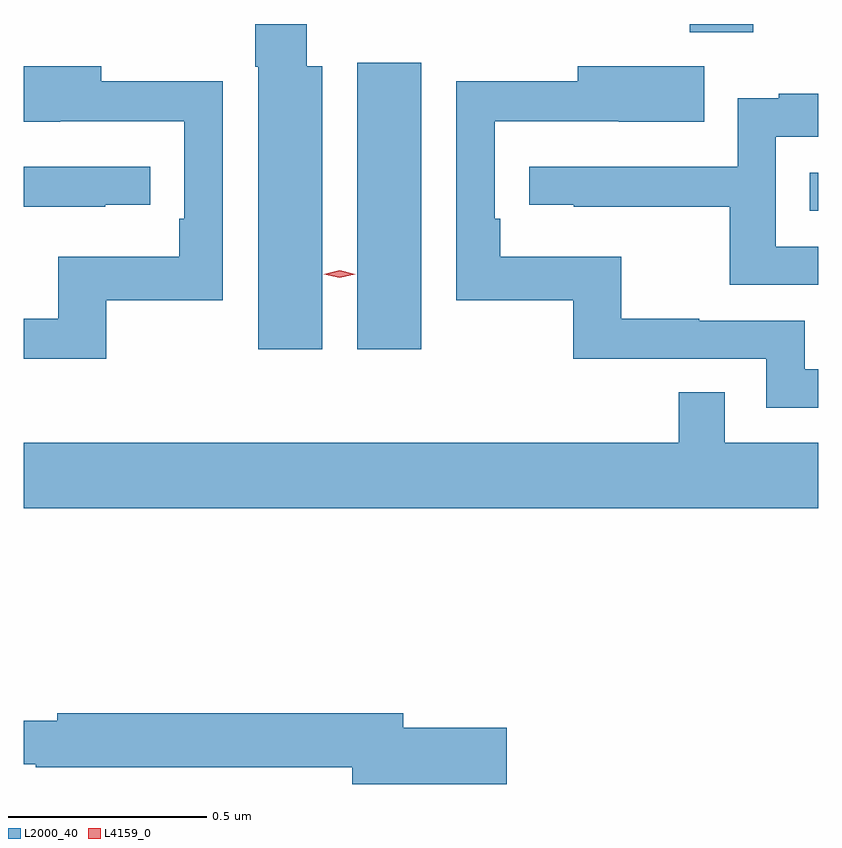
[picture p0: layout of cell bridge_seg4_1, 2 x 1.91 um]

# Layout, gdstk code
import gdstk
lib = gdstk.Library(unit=1e-6, precision=1e-09)
def R(c, l, rs):  # rectangles x0, y0, x1, y1
    for r in rs: c.add(gdstk.rectangle(r[:2], r[2:], *l))
def P(c, l, *ps):  # polygons
    for p in ps: c.add(gdstk.Polygon(p, *l))
L2000_40 = (2000, 40)
L4159_0 = (4159, 0)

bridge_seg4_1 = lib.new_cell('bridge_seg4_1')
R(bridge_seg4_1, L2000_40, [(1041.146,770.58,1041.307,771.301), (1042.285,770.928,1042.307,771.024), (1041.983,771.377,1042.143,771.398)])
P(bridge_seg4_1, L2000_40, [(1041.058,771.292),(1041.019,771.292),(1041.019,771.398),(1040.89,771.398),(1040.89,771.29),(1040.897,771.29),(1040.897,770.58),(1041.058,770.58)],
  [(1040.515,770.703),(1040.808,770.703),(1040.808,771.254),(1040.503,771.254),(1040.503,771.292),(1040.307,771.292),(1040.307,771.152),(1040.399,771.152),(1040.399,771.153),(1040.712,771.153),(1040.712,770.908),(1040.699,770.908),(1040.699,770.812),(1040.394,770.812),(1040.394,770.657),(1040.307,770.657),(1040.307,770.556),(1040.515,770.556)],
  [(1042.307,770.529),(1042.272,770.529),(1042.272,770.652),(1042.007,770.652),(1042.007,770.657),(1041.811,770.657),(1041.811,770.812),(1041.506,770.812),(1041.506,770.908),(1041.492,770.908),(1041.492,771.153),(1041.805,771.153),(1041.805,771.152),(1042.019,771.152),(1042.019,771.292),(1041.701,771.292),(1041.701,771.254),(1041.396,771.254),(1041.396,770.703),(1041.69,770.703),(1041.69,770.556),(1042.176,770.556),(1042.176,770.433),(1042.307,770.433)],
  [(1042.307,770.838),(1042.2,770.838),(1042.2,771.114),(1042.307,771.114),(1042.307,771.223),(1042.207,771.223),(1042.207,771.211),(1042.104,771.211),(1042.104,771.039),(1041.579,771.039),(1041.579,770.943),(1041.691,770.943),(1041.691,770.938),(1042.084,770.938),(1042.084,770.742),(1042.307,770.742)],
  [(1040.513,770.943),(1040.626,770.943),(1040.626,771.039),(1040.307,771.039),(1040.307,770.938),(1040.513,770.938)],
  [(1042.307,770.344),(1042.071,770.344),(1042.071,770.471),(1041.955,770.471),(1041.955,770.344),(1040.307,770.344),(1040.307,770.18),(1042.307,770.18)],
  [(1041.523,769.628),(1041.262,769.628),(1041.262,769.664),(1040.392,769.664),(1040.392,769.645),(1040.307,769.645),(1040.307,769.536),(1040.338,769.536),(1040.338,769.528),(1041.134,769.528),(1041.134,769.486),(1041.523,769.486)])
P(bridge_seg4_1, L4159_0, [(1041.102,770.759),(1041.062,770.769),(1041.062,770.769),(1041.062,770.769),(1041.102,770.779),(1041.142,770.769),(1041.142,770.769),(1041.142,770.769)])

lib.write_gds('bridge_seg4_1.gds')
